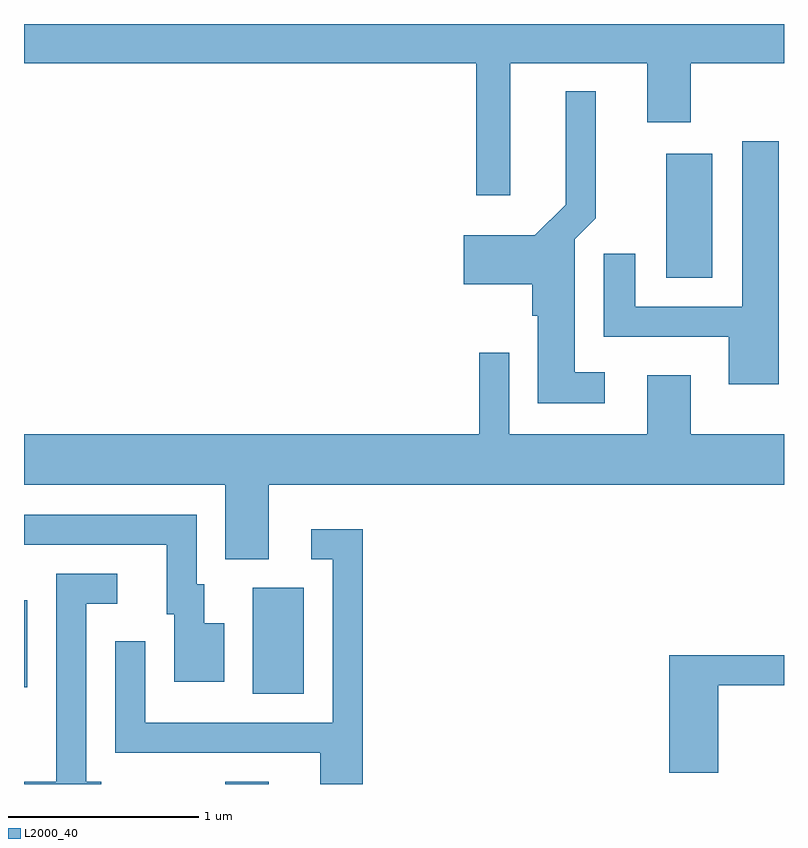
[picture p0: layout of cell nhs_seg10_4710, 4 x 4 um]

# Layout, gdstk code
import gdstk
lib = gdstk.Library(unit=1e-6, precision=1e-09)
def R(c, l, rs):  # rectangles x0, y0, x1, y1
    for r in rs: c.add(gdstk.rectangle(r[:2], r[2:], *l))
def P(c, l, *ps):  # polygons
    for p in ps: c.add(gdstk.Polygon(p, *l))
L2000_40 = (2000, 40)

nhs_seg10_4710 = lib.new_cell('nhs_seg10_4710')
R(nhs_seg10_4710, L2000_40, [(324.671,2154.522,324.899,2154.534), (324.816,2154.996,325.084,2155.554), (323.611,2155.031,323.629,2155.489), (326.991,2157.186,327.234,2157.839)])
P(nhs_seg10_4710, L2000_40, [(326.169,2158.316),(326.891,2158.316),(326.891,2158.006),(327.119,2158.006),(327.119,2158.316),(327.611,2158.316),(327.611,2158.522),(323.611,2158.522),(323.611,2158.316),(325.991,2158.316),(325.991,2157.621),(326.169,2157.621)],
  [(326.668,2156.689),(326.509,2156.689),(326.509,2157.389),(326.619,2157.499),(326.619,2158.168),(326.461,2158.168),(326.461,2157.572),(326.299,2157.409),(325.926,2157.409),(325.926,2157.151),(326.286,2157.151),(326.286,2156.986),(326.316,2156.986),(326.316,2156.526),(326.668,2156.526)],
  [(327.584,2157.904),(327.391,2157.904),(327.391,2157.034),(326.829,2157.034),(326.829,2157.313),(326.661,2157.313),(326.661,2156.876),(327.321,2156.876),(327.321,2156.626),(327.584,2156.626)],
  [(324.899,2156.096),(327.611,2156.096),(327.611,2156.364),(327.119,2156.364),(327.119,2156.674),(326.891,2156.674),(326.891,2156.364),(326.164,2156.364),(326.164,2156.793),(326.006,2156.793),(326.006,2156.364),(323.611,2156.364),(323.611,2156.096),(324.671,2156.096),(324.671,2155.706),(324.899,2155.706)],
  [(324.664,2155.369),(324.559,2155.369),(324.559,2155.574),(324.519,2155.574),(324.519,2155.939),(323.611,2155.939),(323.611,2155.781),(324.361,2155.781),(324.361,2155.416),(324.401,2155.416),(324.401,2155.061),(324.664,2155.061)],
  [(325.394,2155.864),(325.123,2155.864),(325.123,2155.706),(325.236,2155.706),(325.236,2154.844),(324.249,2154.844),(324.249,2155.273),(324.091,2155.273),(324.091,2154.686),(325.171,2154.686),(325.171,2154.522),(325.394,2154.522)],
  [(324.018,2154.534),(323.939,2154.534),(323.939,2155.471),(324.103,2155.471),(324.103,2155.629),(323.781,2155.629),(323.781,2154.534),(323.611,2154.534),(323.611,2154.522),(324.018,2154.522)],
  [(327.264,2155.041),(327.611,2155.041),(327.611,2155.199),(327.006,2155.199),(327.006,2154.581),(327.264,2154.581)])

lib.write_gds('nhs_seg10_4710.gds')
